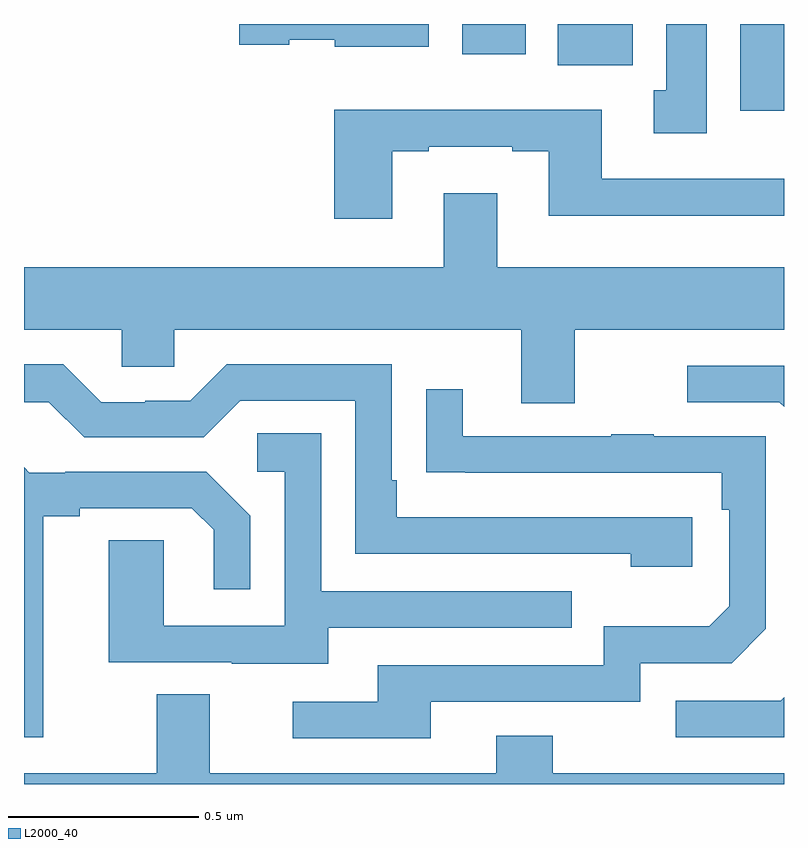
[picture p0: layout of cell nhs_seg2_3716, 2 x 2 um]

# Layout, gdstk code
import gdstk
lib = gdstk.Library(unit=1e-6, precision=1e-09)
def R(c, l, rs):  # rectangles x0, y0, x1, y1
    for r in rs: c.add(gdstk.rectangle(r[:2], r[2:], *l))
def P(c, l, *ps):  # polygons
    for p in ps: c.add(gdstk.Polygon(p, *l))
L2000_40 = (2000, 40)

nhs_seg2_3716 = lib.new_cell('nhs_seg2_3716')
R(nhs_seg2_3716, L2000_40, [(158.885,621.572,159,621.8), (158.405,621.692,158.602,621.8), (158.153,621.72,158.32,621.8)])
P(nhs_seg2_3716, L2000_40, [(158.065,621.8),(157.566,621.8),(157.566,621.746),(157.698,621.746),(157.698,621.758),(157.818,621.758),(157.818,621.74),(158.065,621.74)],
  [(158.797,621.8),(158.69,621.8),(158.69,621.626),(158.657,621.626),(158.657,621.513),(158.797,621.513)],
  [(157.969,621.465),(158.065,621.465),(158.065,621.477),(158.285,621.477),(158.285,621.465),(158.381,621.465),(158.381,621.296),(159,621.296),(159,621.393),(158.521,621.393),(158.521,621.574),(157.817,621.574),(157.817,621.288),(157.969,621.288)],
  [(158.449,620.996),(159,620.996),(159,621.16),(158.245,621.16),(158.245,621.355),(158.105,621.355),(158.105,621.16),(157,621.16),(157,620.996),(157.257,620.996),(157.257,620.898),(157.395,620.898),(157.395,620.996),(158.309,620.996),(158.309,620.802),(158.449,620.802)],
  [(158.758,620.502),(157.981,620.502),(157.981,620.599),(157.968,620.599),(157.968,620.904),(157.533,620.904),(157.437,620.808),(157.319,620.808),(157.319,620.805),(157.203,620.805),(157.103,620.905),(157,620.905),(157,620.805),(157.065,620.805),(157.158,620.712),(157.473,620.712),(157.569,620.808),(157.872,620.808),(157.872,620.406),(158.597,620.406),(158.597,620.372),(158.758,620.372)],
  [(159,620.901),(158.745,620.901),(158.745,620.805),(158.988,620.805),(159,620.793)],
  [(158.071,620.016),(158.622,620.016),(158.622,620.118),(158.862,620.118),(158.952,620.208),(158.952,620.715),(158.657,620.715),(158.657,620.72),(158.545,620.72),(158.545,620.715),(158.155,620.715),(158.155,620.839),(158.059,620.839),(158.059,620.62),(158.161,620.62),(158.161,620.619),(158.836,620.619),(158.836,620.522),(158.856,620.522),(158.856,620.268),(158.803,620.215),(158.526,620.215),(158.526,620.112),(157.931,620.112),(157.931,620.016),(157.707,620.016),(157.707,619.92),(158.071,619.92)],
  [(157.801,620.211),(158.441,620.211),(158.441,620.307),(157.782,620.307),(157.782,620.723),(157.614,620.723),(157.614,620.622),(157.686,620.622),(157.686,620.217),(157.368,620.217),(157.368,620.441),(157.223,620.441),(157.223,620.121),(157.547,620.121),(157.547,620.117),(157.801,620.117)],
  [(157.051,620.504),(157.147,620.504),(157.147,620.526),(157.442,620.526),(157.499,620.469),(157.499,620.313),(157.596,620.313),(157.596,620.506),(157.48,620.622),(157.108,620.622),(157.108,620.619),(157.014,620.619),(157,620.633),(157,619.923),(157.051,619.923)],
  [(159,619.828),(158.391,619.828),(158.391,619.927),(158.243,619.927),(158.243,619.828),(157.489,619.828),(157.489,620.036),(157.349,620.036),(157.349,619.828),(157,619.828),(157,619.8),(159,619.8)],
  [(159,620.028),(158.991,620.019),(158.715,620.019),(158.715,619.923),(159,619.923)])

lib.write_gds('nhs_seg2_3716.gds')
